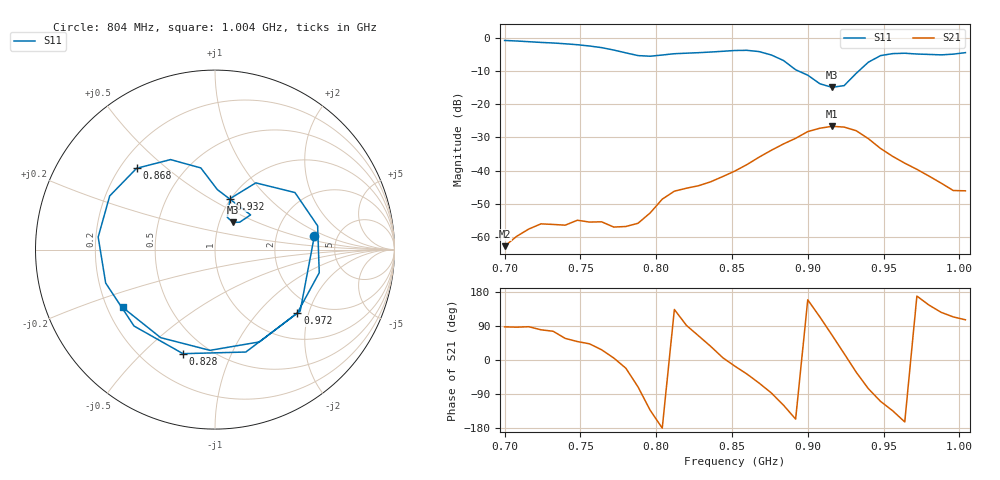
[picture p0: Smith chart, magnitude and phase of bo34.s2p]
# Hz S RI R 50
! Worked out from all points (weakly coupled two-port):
!   39 points, 700 MHz to 1.004 GHz, reference 50 ohm
!   highest |S21| = -26.63 dB at 916 MHz (marker M1); lowest = -62.9 dB at 700 MHz (marker M2)
!   lowest |S11| = -14.8 dB at 916 MHz (marker M3), VSWR 1.44, Z = 58.1 + j18.2 ohm
!   |S11| at or under -10 dB: 894.4 MHz to 933.4 MHz (38.97 MHz wide, 4.26 % of centre)
!   S12 and S22 are empty: the file has one direction only
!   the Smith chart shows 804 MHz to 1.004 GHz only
!   S11 on the Smith chart (normalised r, x): 804 MHz: 3.35, +0.75; 828 MHz: 0.37, -0.67; 868 MHz: 0.27, +0.40; 932 MHz: 0.99, +0.62; 972 MHz: 1.59, -1.69; 1.004 GHz: 0.26, -0.27
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7e8  0.7635 0.5282  3.15e-05 0.000717  0 0  0 0
7.24e8  0.8278 -0.2571  0.000279 0.00154  0 0  0 0
7.4e8  0.437 -0.7016  0.000812 0.00125  0 0  0 0
7.56e8  -0.2013 -0.7387  0.00122 0.00113  0 0  0 0
7.72e8  -0.6436 -0.168  0.00139 0.000128  0 0  0 0
7.8e8  -0.5485 0.2493  0.00132 -0.000526  0 0  0 0
7.88e8  -0.1757 0.5192  0.000522 -0.0015  0 0  0 0
7.96e8  0.2923 0.4493  -0.00153 -0.00168  0 0  0 0
8.04e8  0.5538 0.077  -0.00369 -1.54e-05  0 0  0 0
8.2e8  0.1717 -0.5707  -0.000106 0.0054  0 0  0 0
8.28e8  -0.1784 -0.5799  0.00262 0.00528  0 0  0 0
8.52e8  -0.6509 0.0699  0.00944 -0.0028  0 0  0 0
8.68e8  -0.4369 0.4529  0.0077 -0.014  0 0  0 0
9e8  0.1982 0.1934  -0.0362 0.014  0 0  0 0
9.08e8  0.1374 0.1527  -0.0174 0.04  0 0  0 0
9.16e8  0.1 0.1514  0.0192 0.0425  0 0  0 0
9.32e8  0.0837 0.2838  0.0338 -0.0214  0 0  0 0
9.4e8  0.2272 0.3718  0.00747 -0.0294  0 0  0 0
9.56e8  0.5718 0.1324  -0.0114 -0.0118  0 0  0 0
9.72e8  0.4588 -0.3529  -0.0102 0.00205  0 0  0 0
9.88e8  -0.028 -0.5613  -0.00378 0.00523  0 0  0 0
1.004e9  -0.5151 -0.3215  -0.00137 0.00474  0 0  0 0
